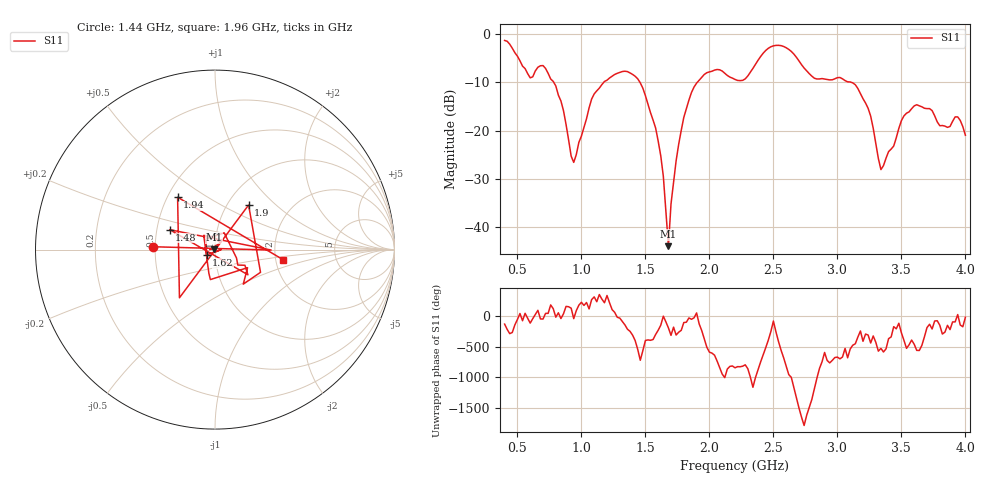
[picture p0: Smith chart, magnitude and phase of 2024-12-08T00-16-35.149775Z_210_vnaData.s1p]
!Created with skrf (http://scikit-rf.org).
# Hz S RI R 50.0
!freq ReS11 ImS11
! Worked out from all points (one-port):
!   181 points, 400 MHz to 4 GHz, reference 50 ohm
!   lowest |S11| = -43.9 dB at 1.68 GHz (marker M1), VSWR 1.01, Z = 49.4 + j0.136 ohm
!   |S11| at or under -10 dB: 784.5 MHz to 1.174 GHz (389.5 MHz wide, 39.8 % of centre); 1.458 GHz to 1.905 GHz (446.9 MHz wide, 26.6 % of centre); 3.111 GHz to end of sweep
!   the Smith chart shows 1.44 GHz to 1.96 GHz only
!   S11 on the Smith chart (normalised r, x): 1.44 GHz: 0.49, +0.02; 1.48 GHz: 0.58, +0.14; 1.62 GHz: 0.91, -0.05; 1.9 GHz: 1.25, +0.69; 1.94 GHz: 0.56, +0.38; 1.96 GHz: 2.19, -0.29
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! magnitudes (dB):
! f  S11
! 400 MHz  -1.3
! 600 MHz  -9.0
! 720 MHz  -7.1
! 860 MHz  -15.8
! 940 MHz  -26.6
! 1.1 GHz  -12.4
! 1.3 GHz  -7.9
! 1.44 GHz  -9.2
! 1.48 GHz  -11.2
! 1.62 GHz  -25.2
! 1.68 GHz  -43.9
! 1.7 GHz  -35.2
! 1.76 GHz  -22.8
! 1.9 GHz  -10.1
! 1.94 GHz  -8.9
! 1.96 GHz  -8.3
! 2.2 GHz  -9.4
! 2.48 GHz  -2.6
! 2.66 GHz  -4.1
! 2.82 GHz  -9.1
! 3.1 GHz  -9.9
! 3.24 GHz  -15.4
! 3.34 GHz  -28.1
! 3.56 GHz  -16.1
! 3.72 GHz  -15.4
! 3.86 GHz  -19.3
! 3.94 GHz  -17.1
! 4 GHz  -20.9
